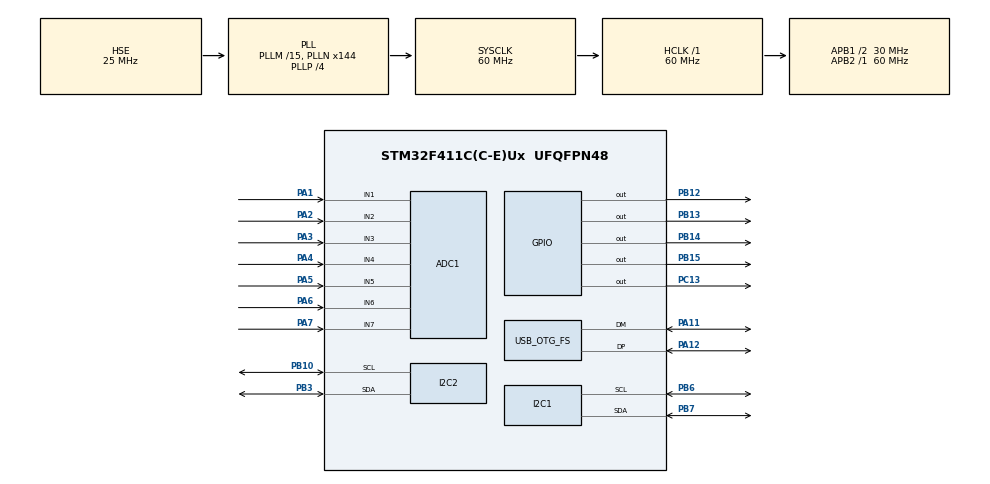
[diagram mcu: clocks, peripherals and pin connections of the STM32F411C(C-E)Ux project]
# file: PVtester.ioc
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ADC1.Channel-0\#ChannelRegularConversion=ADC_CHANNEL_1
ADC1.Channel-1\#ChannelRegularConversion=ADC_CHANNEL_2
ADC1.Channel-2\#ChannelRegularConversion=ADC_CHANNEL_3
ADC1.Channel-3\#ChannelRegularConversion=ADC_CHANNEL_4
ADC1.Channel-4\#ChannelRegularConversion=ADC_CHANNEL_5
ADC1.Channel-5\#ChannelRegularConversion=ADC_CHANNEL_6
ADC1.Channel-6\#ChannelRegularConversion=ADC_CHANNEL_7
ADC1.ClockPrescaler=ADC_CLOCK_SYNC_PCLK_DIV8
ADC1.ContinuousConvMode=DISABLE
ADC1.DMAContinuousRequests=DISABLE
ADC1.EOCSelection=ADC_EOC_SINGLE_CONV
ADC1.NbrOfConversion=7
ADC1.NbrOfConversionFlag=1
ADC1.Rank-0\#ChannelRegularConversion=1
ADC1.Rank-1\#ChannelRegularConversion=2
ADC1.Rank-2\#ChannelRegularConversion=3
ADC1.Rank-3\#ChannelRegularConversion=4
ADC1.Rank-4\#ChannelRegularConversion=5
ADC1.Rank-5\#ChannelRegularConversion=6
ADC1.Rank-6\#ChannelRegularConversion=7
ADC1.SamplingTime-0\#ChannelRegularConversion=ADC_SAMPLETIME_56CYCLES
ADC1.SamplingTime-1\#ChannelRegularConversion=ADC_SAMPLETIME_56CYCLES
ADC1.SamplingTime-2\#ChannelRegularConversion=ADC_SAMPLETIME_56CYCLES
ADC1.SamplingTime-3\#ChannelRegularConversion=ADC_SAMPLETIME_56CYCLES
ADC1.SamplingTime-4\#ChannelRegularConversion=ADC_SAMPLETIME_56CYCLES
ADC1.SamplingTime-5\#ChannelRegularConversion=ADC_SAMPLETIME_56CYCLES
ADC1.SamplingTime-6\#ChannelRegularConversion=ADC_SAMPLETIME_56CYCLES
ADC1.ScanConvMode=ENABLE
ADC1.master=1
Dma.ADC1.0.Direction=DMA_PERIPH_TO_MEMORY
Dma.ADC1.0.FIFOMode=DMA_FIFOMODE_DISABLE
Dma.ADC1.0.Instance=DMA2_Stream0
Dma.ADC1.0.MemDataAlignment=DMA_MDATAALIGN_WORD
Dma.ADC1.0.MemInc=DMA_MINC_ENABLE
Dma.ADC1.0.Mode=DMA_CIRCULAR
Dma.ADC1.0.PeriphDataAlignment=DMA_PDATAALIGN_WORD
Dma.ADC1.0.PeriphInc=DMA_PINC_DISABLE
Dma.ADC1.0.Priority=DMA_PRIORITY_LOW
Dma.Request0=ADC1
FREERTOS.HEAP_NUMBER=3
FREERTOS.INCLUDE_vTaskDelayUntil=1
FREERTOS.MEMORY_ALLOCATION=2
FREERTOS.Tasks01=defaultTask,0,128,vDefaultTask,Default,NULL,Static,defaultTaskBuffer,defaultTaskControlBlock
FREERTOS.configUSE_NEWLIB_REENTRANT=1
Mcu.Family=STM32F4
Mcu.Name=STM32F411C(C-E)Ux
Mcu.Package=UFQFPN48
NVIC.DMA2_Stream0_IRQn=true\:5\:0\:false\:false\:true\:true\:false\:true\:true
NVIC.OTG_FS_IRQn=true\:5\:0\:false\:false\:true\:true\:false\:true\:true
NVIC.PriorityGroup=NVIC_PRIORITYGROUP_4
NVIC.TIM3_IRQn=true\:15\:0\:false\:false\:true\:false\:false\:true\:true
NVIC.TimeBase=TIM3_IRQn
NVIC.TimeBaseIP=TIM3
PA1.Signal=ADCx_IN1
PA11.Mode=Device_Only
PA11.Signal=USB_OTG_FS_DM
PA12.Mode=Device_Only
PA12.Signal=USB_OTG_FS_DP
PA13.Mode=Serial_Wire
PA13.Signal=SYS_JTMS-SWDIO
PA14.Mode=Serial_Wire
PA14.Signal=SYS_JTCK-SWCLK
PA2.Signal=ADCx_IN2
PA3.Signal=ADCx_IN3
PA4.Signal=ADCx_IN4
PA5.Signal=ADCx_IN5
PA6.Signal=ADCx_IN6
PA7.Signal=ADCx_IN7
PB10.Mode=I2C
PB10.Signal=I2C2_SCL
PB12.Signal=GPIO_Output
PB13.Signal=GPIO_Output
PB14.Signal=GPIO_Output
PB15.Signal=GPIO_Output
PB3.Mode=I2C
PB3.Signal=I2C2_SDA
PB6.Mode=I2C
PB6.Signal=I2C1_SCL
PB7.Mode=I2C
PB7.Signal=I2C1_SDA
PC13-ANTI_TAMP.Signal=GPIO_Output
PH0\ -\ OSC_IN.Mode=HSE-External-Oscillator
PH0\ -\ OSC_IN.Signal=RCC_OSC_IN
PH1\ -\ OSC_OUT.Mode=HSE-External-Oscillator
PH1\ -\ OSC_OUT.Signal=RCC_OSC_OUT
ProjectManager.HeapSize=0x2000
ProjectManager.StackSize=0x4000
ProjectManager.TargetToolchain=STM32CubeIDE
RCC.48MHZClocksFreq_Value=48000000
RCC.AHBFreq_Value=60000000
RCC.APB1CLKDivider=RCC_HCLK_DIV2
RCC.APB1Freq_Value=30000000
RCC.APB1TimFreq_Value=60000000
RCC.APB2Freq_Value=60000000
RCC.APB2TimFreq_Value=60000000
RCC.CortexFreq_Value=60000000
RCC.HCLKFreq_Value=60000000
RCC.HSE_VALUE=25000000
RCC.HSI_VALUE=16000000
RCC.LSE_VALUE=32768
RCC.PLLM=15
RCC.PLLN=144
RCC.PLLP=RCC_PLLP_DIV4
RCC.PLLQ=5
RCC.SYSCLKFreq_VALUE=60000000
RCC.SYSCLKSource=RCC_SYSCLKSOURCE_PLLCLK
RCC.VCOOutputFreq_Value=240000000
SH.ADCx_IN1.0=ADC1_IN1,IN1
SH.ADCx_IN2.0=ADC1_IN2,IN2
SH.ADCx_IN3.0=ADC1_IN3,IN3
SH.ADCx_IN4.0=ADC1_IN4,IN4
SH.ADCx_IN5.0=ADC1_IN5,IN5
SH.ADCx_IN6.0=ADC1_IN6,IN6
SH.ADCx_IN7.0=ADC1_IN7,IN7
USB_DEVICE.CLASS_NAME_FS=CDC
USB_DEVICE.VirtualMode=Cdc
USB_DEVICE.VirtualModeFS=Cdc_FS
USB_OTG_FS.VirtualMode=Device_Only
VP_FREERTOS_VS_CMSIS_V1.Mode=CMSIS_V1
VP_SYS_VS_tim3.Mode=TIM3
VP_USB_DEVICE_VS_USB_DEVICE_CDC_FS.Mode=CDC_FS
board=custom

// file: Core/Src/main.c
/* USER CODE BEGIN Header */
/**
  ******************************************************************************
  * @file           : main.c
  * @brief          : Main program body
  ******************************************************************************
  * @attention
  *
  * Copyright (c) 2022 STMicroelectronics.
  * All rights reserved.
  *
  * This software is licensed under terms that can be found in the LICENSE file
  * in the root directory of this software component.
  * If no LICENSE file comes with this software, it is provided AS-IS.
  *
  ******************************************************************************
  */
/* USER CODE END Header */
#include "main.h"
#include "cmsis_os.h"
#include "adc.h"
#include "dma.h"
#include "i2c.h"
#include "usb_device.h"
#include "gpio.h"

/* USER CODE BEGIN Includes */
#include "ssd1306.h"
#include "mcp4726.h"

/* USER CODE END Includes */

void SystemClock_Config(void);
void MX_FREERTOS_Init(void);

int main(void)
{

  /* MCU Configuration--------------------------------------------------------*/

  /* Reset of all peripherals, Initializes the Flash interface and the Systick. */
  HAL_Init();

  /* Configure the system clock */
  SystemClock_Config();

  /* Initialize all configured peripherals */
  MX_GPIO_Init();
  MX_DMA_Init();
  MX_ADC1_Init();
  MX_I2C1_Init();
  MX_I2C2_Init();
  /* USER CODE BEGIN 2 */
  //HAL_NVIC_DisableIRQ(DMA2_Stream0_IRQn);

  ssd1306_Init();

  mcp4726_Init(&hi2c1);
  mcp4726_Init(&hi2c2);

  /* USER CODE END 2 */

  /* Call init function for freertos objects (in freertos.c) */
  MX_FREERTOS_Init();

  /* Start scheduler */
  osKernelStart();

  /* We should never get here as control is now taken by the scheduler */
  /* Infinite loop */
  while (1)
  {

  }
}

void SystemClock_Config(void)
{
  RCC_OscInitTypeDef RCC_OscInitStruct = {0};
  RCC_ClkInitTypeDef RCC_ClkInitStruct = {0};

  /** Configure the main internal regulator output voltage
  */
  __HAL_RCC_PWR_CLK_ENABLE();
  __HAL_PWR_VOLTAGESCALING_CONFIG(PWR_REGULATOR_VOLTAGE_SCALE1);

  /** Initializes the RCC Oscillators according to the specified parameters
  * in the RCC_OscInitTypeDef structure.
  */
  RCC_OscInitStruct.OscillatorType = RCC_OSCILLATORTYPE_HSE;
  RCC_OscInitStruct.HSEState = RCC_HSE_ON;
  RCC_OscInitStruct.PLL.PLLState = RCC_PLL_ON;
  RCC_OscInitStruct.PLL.PLLSource = RCC_PLLSOURCE_HSE;
  RCC_OscInitStruct.PLL.PLLM = 15;
  RCC_OscInitStruct.PLL.PLLN = 144;
  RCC_OscInitStruct.PLL.PLLP = RCC_PLLP_DIV4;
  RCC_OscInitStruct.PLL.PLLQ = 5;
  if (HAL_RCC_OscConfig(&RCC_OscInitStruct) != HAL_OK)
  {
    Error_Handler();
  }

  /** Initializes the CPU, AHB and APB buses clocks
  */
  RCC_ClkInitStruct.ClockType = RCC_CLOCKTYPE_HCLK|RCC_CLOCKTYPE_SYSCLK
                              |RCC_CLOCKTYPE_PCLK1|RCC_CLOCKTYPE_PCLK2;
  RCC_ClkInitStruct.SYSCLKSource = RCC_SYSCLKSOURCE_PLLCLK;
  RCC_ClkInitStruct.AHBCLKDivider = RCC_SYSCLK_DIV1;
  RCC_ClkInitStruct.APB1CLKDivider = RCC_HCLK_DIV2;
  RCC_ClkInitStruct.APB2CLKDivider = RCC_HCLK_DIV1;

  if (HAL_RCC_ClockConfig(&RCC_ClkInitStruct, FLASH_LATENCY_1) != HAL_OK)
  {
    Error_Handler();
  }
}

void HAL_TIM_PeriodElapsedCallback(TIM_HandleTypeDef *htim)
{
  if (htim->Instance == TIM3) {
    HAL_IncTick();
  }
}

void Error_Handler(void)
{
  __disable_irq();
  while (1)
  {
  }
}

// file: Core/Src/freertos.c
/* USER CODE BEGIN Header */
/**
  ******************************************************************************
  * File Name          : freertos.c
  * Description        : Code for freertos applications
  ******************************************************************************
  * @attention
  *
  * Copyright (c) 2022 STMicroelectronics.
  * All rights reserved.
  *
  * This software is licensed under terms that can be found in the LICENSE file
  * in the root directory of this software component.
  * If no LICENSE file comes with this software, it is provided AS-IS.
  *
  ******************************************************************************
  */
/* USER CODE END Header */

#include "FreeRTOS.h"
#include "task.h"
#include "main.h"
#include "cmsis_os.h"

/* USER CODE BEGIN Includes */
#include <stdio.h>
#include "string.h"

#include "usbd_cdc_if.h"
#include "adc.h"
#include "i2c.h"

#include "ssd1306.h"
#include "ssd1306_tests.h"

#include "ads1115.h"

#include "mcp4726.h"
/* USER CODE END Includes */

/* USER CODE BEGIN PD */
//#define SSDDEBUG
#define ack_len 5

#define sendAck(ackData, num, task) {\
	ackData[0] = num;\
	ackData[1] = task;\
	CDC_Transmit_FS((uint8_t *) ackData, ack_len);\
}
/* USER CODE END PD */

/* USER CODE BEGIN Variables */
osThreadId ssdThreadId;
osThreadId comThreadId;

uint8_t buffer[64];
uint8_t newData;

uint32_t adc_dma[14];

struct AcdPV {
	uint16_t adc_pvu;
	uint16_t adc_pvi;
	uint8_t adc_ampi;
};

struct SSDData {
	uint16_t dac_led;
	uint16_t dac_pv;
	float adc_pvu;
	float adc_pvi;
	float adc_led1;
	float adc_led2;
	float adc_36;
	uint16_t pv_gate;
	uint8_t err_code;
} ssdData;

struct COMData {
	struct SSDData * ssd;
	uint8_t buff[64];
	uint8_t res[16];
	uint8_t recv[2];
} comData;

/* USER CODE END Variables */
osThreadId defaultTaskHandle;
uint32_t defaultTaskBuffer[ 128 ];
osStaticThreadDef_t defaultTaskControlBlock;

/* USER CODE BEGIN FunctionPrototypes */
void vSSDThread(void const * argument);
void vCOMThread(void const * argument);

#if defined(SSDDEBUG)
void ssdDataClear(struct SSDData *);
void ssdUpdateDacLed(struct COMData *, uint16_t);
void ssdUpdateDacPV(struct COMData *, uint16_t);
void ssdUpdateAdcPV(struct COMData *);
void ssdUpdateGate(struct COMData *, uint8_t);
#endif

uint8_t comReset();
uint8_t comSetDacLed(uint16_t);
uint8_t comSetDacPV(uint16_t);
uint8_t comSendAdcPV(struct COMData *, uint8_t);
uint8_t comSendAdcOther(uint8_t *, uint8_t);
uint8_t comSetPVGate(uint8_t);
uint8_t comSetLEDGate(uint8_t);
uint8_t comSetPVFan(uint8_t);
uint8_t comSetLEDFan(uint8_t);
/* USER CODE END FunctionPrototypes */

void vDefaultTask(void const * argument);

extern void MX_USB_DEVICE_Init(void);
void MX_FREERTOS_Init(void); /* (MISRA C 2004 rule 8.1) */

/* GetIdleTaskMemory prototype (linked to static allocation support) */
void vApplicationGetIdleTaskMemory( StaticTask_t **ppxIdleTaskTCBBuffer, StackType_t **ppxIdleTaskStackBuffer, uint32_t *pulIdleTaskStackSize );

/* USER CODE BEGIN GET_IDLE_TASK_MEMORY */
static StaticTask_t xIdleTaskTCBBuffer;
static StackType_t xIdleStack[configMINIMAL_STACK_SIZE];

void vApplicationGetIdleTaskMemory( StaticTask_t **ppxIdleTaskTCBBuffer, StackType_t **ppxIdleTaskStackBuffer, uint32_t *pulIdleTaskStackSize )
{
  *ppxIdleTaskTCBBuffer = &xIdleTaskTCBBuffer;
  *ppxIdleTaskStackBuffer = &xIdleStack[0];
  *pulIdleTaskStackSize = configMINIMAL_STACK_SIZE;
  /* place for user code */
}
/* USER CODE END GET_IDLE_TASK_MEMORY */

void MX_FREERTOS_Init(void) {

  /* Create the thread(s) */
  /* definition and creation of defaultTask */
  osThreadStaticDef(defaultTask, vDefaultTask, osPriorityNormal, 0, 128, defaultTaskBuffer, &defaultTaskControlBlock);
  defaultTaskHandle = osThreadCreate(osThread(defaultTask), NULL);

  /* USER CODE BEGIN RTOS_THREADS */
  osThreadDef(ssdThread, vSSDThread, osPriorityNormal, 1, 512);
  osThreadDef(comThread, vCOMThread, osPriorityNormal, 1, 512);
  comData.ssd = &ssdData;
  ssdThreadId = osThreadCreate(osThread(ssdThread), comData.ssd);
  comThreadId = osThreadCreate(osThread(comThread), &comData);
  /* USER CODE END RTOS_THREADS */

}

void vDefaultTask(void const * argument)
{
  /* init code for USB_DEVICE */
  MX_USB_DEVICE_Init();
  for(;;)
  {
	  osDelay(1);
  }
}

/* USER CODE BEGIN Application */

void vSSDThread(void const * arg)
{

//#if defined(SSDDEBUG)
	struct SSDData * ssdData = (struct SSDData * ) arg;
	char buff[10];
//#endif
	TickType_t xLastWakeTime;
	const TickType_t xFrequency = 100;
	xLastWakeTime = xTaskGetTickCount();

	for(;;)
	{
#if defined(SSDDEBUG)
		ssd1306_Fill(0x00);

		snprintf(buff, sizeof(buff), "LD:%u", ssdData->dac_led);
		ssd1306_SetCursor(2, 0);
		ssd1306_WriteString(buff, Font_6x8, White);

		snprintf(buff, sizeof(buff), "PV:%u", ssdData->dac_pv);
		ssd1306_SetCursor(56, 0);
		ssd1306_WriteString(buff, Font_6x8, White);

		snprintf(buff, sizeof(buff), "U:%.5f", ssdData->adc_pvu);
		ssd1306_SetCursor(62, 16);
		ssd1306_WriteString(buff, Font_6x8, White);

		snprintf(buff, sizeof(buff), "I:%.5f", ssdData->adc_pvi);
		ssd1306_SetCursor(62, 24);
		ssd1306_WriteString(buff, Font_6x8, White);

		ssdData->adc_led1 = adc_dma[0] * 0.0008058608;
		snprintf(buff, sizeof(buff), "1L:%.3f", ssdData->adc_led1);
		ssd1306_SetCursor(2, 8);
		ssd1306_WriteString(buff, Font_6x8, White);

		ssdData->adc_led2 = adc_dma[1] * 0.0008058608;
		snprintf(buff, sizeof(buff), "2L:%.3f", ssdData->adc_led2);
		ssd1306_SetCursor(56, 8);
		ssd1306_WriteString(buff, Font_6x8, White);

		ssdData->adc_36 = adc_dma[2] * 0.0008058608;
		snprintf(buff, sizeof(buff), "36V%.3f", ssdData->adc_36);
		ssd1306_SetCursor(2, 16);
		ssd1306_WriteString(buff, Font_6x8, White);

		snprintf(buff, sizeof(buff), "G:%u", ssdData->pv_gate);
		ssd1306_SetCursor(110, 8);
		ssd1306_WriteString(buff, Font_6x8, White);

		snprintf(buff, sizeof(buff), "E:%u", ssdData->err_code);
		ssd1306_SetCursor(110, 0);
		ssd1306_WriteString(buff, Font_6x8, White);
		//recv buffer

		ssd1306_SetCursor(2, 24);
		for( int i = 0; i < 4; i++)
		{
			snprintf(buff, 3, "%02x", buffer[i]);
			ssd1306_WriteChar(buff[0], Font_6x8, White);
			ssd1306_WriteChar(buff[1], Font_6x8, White);
		}

		//ssd1306_WriteString(buffer, Font_6x8, White);

		ssd1306_UpdateScreen();
#endif
		HAL_ADC_Start_DMA(&hadc1, adc_dma, 7);
		HAL_GPIO_TogglePin (GPIOC, GPIO_PIN_13);
		vTaskDelayUntil(&xLastWakeTime, xFrequency);
	}

}

void vCOMThread(void const * arg)
{
	struct COMData * comData = (struct COMData * ) arg;
//#if defined(SSDDEBUG)
//	struct SSDData * ssdData = comData->ssdData;
#if defined(SSDDEBUG)
	ssdDataClear(comData->ssd);
#endif

	char ackData[ack_len] = "12ACK";
	uint8_t num = 1;

	for(;;)
	{		if(newData == 1)
		{
			memset(comData->buff, '\0', 64);
			memcpy(comData->buff, buffer, 64);
			newData = 0;
			uint16_t level;
			//parse

			if ( num == comData->buff[0]) //correct data
			{
				switch (comData->buff[1])
				{
				case 0u: //reset
					comReset();
#if defined(SSDDEBUG)
					ssdDataClear(comData->ssd);
#endif
					sendAck(ackData, num, 0u);
					break;
				case 1u: //set dac led
					taskENTER_CRITICAL();
					level = ((uint16_t)comData->buff[2] << 8) | (uint16_t)comData->buff[3];
					comSetDacLed(level);
					taskEXIT_CRITICAL();
#if defined(SSDDEBUG)
					ssdUpdateDacLed(comData, level);
#endif
					sendAck(ackData, num, 1u);
					break;
				case 2u: //set dac pv
					taskENTER_CRITICAL();
					level = ((uint16_t)comData->buff[2] << 8) | (uint16_t)comData->buff[3];
					comSetDacPV(level);
					taskEXIT_CRITICAL();
#if defined(SSDDEBUG)
					ssdUpdateDacPV(comData, level);
#endif
					sendAck(ackData, num, 2u);
					break;
				case 3u: //read adc pv
					taskENTER_CRITICAL();
					comSendAdcPV(comData, num);
					taskEXIT_CRITICAL();
#if defined(SSDDEBUG)
					ssdUpdateAdcPV(comData);
#endif
					break;
				case 4u: //read adc other
					taskENTER_CRITICAL();
					comSendAdcOther(comData->res, num);
					taskEXIT_CRITICAL();
					break;
				case 5u: //set pv gate
					comSetPVGate(comData->buff[2]);
#if defined(SSDDEBUG)
					ssdUpdateGate(comData, comData->buff[2]);
#endif
					sendAck(ackData, num, 5u);
					break;
				case 6u: //set led gate
					comSetLEDGate(comData->buff[2]);
#if defined(SSDDEBUG)
					ssdUpdateGate(comData, comData->buff[2]);
#endif
					sendAck(ackData, num, 6u);
					break;
				case 7u: //set pv fan
					comSetPVFan(comData->buff[2]);
#if defined(SSDDEBUG)
					ssdUpdateGate(comData, comData->buff[2]);
#endif
					sendAck(ackData, num, 7u);
					break;
				case 8u: //set led fan
					comSetLEDFan(comData->buff[2]);
#if defined(SSDDEBUG)
					ssdUpdateGate(comData, comData->buff[2]);
#endif
					sendAck(ackData, num, 8u);
					break;
				case 0x88: //Echo 7 bytes
					CDC_Transmit_FS((uint8_t *) comData->buff, 7);
					break;
				default:
					CDC_Transmit_FS((uint8_t *) comData->buff, 64);
					break;
				}

				num==0xff?num=1:num++; //inc num
			}
			else
			{
				if (comData->buff[0] == 0 && comData->buff[1] == 0x80)
				{
					num = 0x01;
				}
				else
				{
					char data[19] = "\0";
					data[1] = 1u;
					CDC_Transmit_FS((uint8_t *) data, 2);
				}
			}

		}
	}
}

//COM reactions

uint8_t comReset()
{
	comSetDacLed(0);
	comSetDacPV(0);
	comSetPVGate(0);
	return 0;
}

uint8_t comSetDacLed(uint16_t level)
{
	HAL_StatusTypeDef res = mcp4726_WriteOutputV(&hi2c1, level);
	return (uint8_t) res;
}

uint8_t comSetDacPV(uint16_t level)
{
	HAL_StatusTypeDef res = mcp4726_WriteOutputV(&hi2c2, level);
	return (uint8_t) res;
}

uint8_t comSendAdcPV(struct COMData * com, uint8_t num)
{
	com->res[0] = num;
	com->res[1] = 0x03;
	//Get PV voltage (MUX 0-1, PGA 2V)
	if (ads1115_GetValue(com->recv, ADS1115_MUX_0_GND, ADS1115_PGA_2V) != HAL_OK)
	{
		com->res[2] = 0xff;
		com->res[3] = 0xff;
	} else {
		com->res[2] = com->recv[0];
		com->res[3] = com->recv[1];
	}
	 //Get PV voltage (MUX 2-3, PGA 2V for now)
	if (ads1115_GetValue(com->recv, ADS1115_MUX_2_GND, ADS1115_PGA_2V) != HAL_OK)
	{
		com->res[4] = 0xff;
		com->res[5] = 0xff;
	} else {
		com->res[4] = com->recv[0];
		com->res[5] = com->recv[1];
	}
	com->res[6] = 0x00; //amp not implemented yet
	return CDC_Transmit_FS(com->res, 7);
}

uint8_t comSendAdcOther(uint8_t * res, uint8_t num)
{
	res[0] = num;
	res[1] = 0x04;
	res[2] = (uint8_t)((adc_dma[0] & 0x0f00) >> 8);
	res[3] = (uint8_t)(adc_dma[0] & 0x00ff);
	res[4] = (uint8_t)((adc_dma[1] & 0x0f00) >> 8);
	res[5] = (uint8_t)(adc_dma[1] & 0x00ff);
	res[6] = (uint8_t)((adc_dma[2] & 0x0f00) >> 8);
	res[7] = (uint8_t)(adc_dma[2] & 0x00ff);
	res[8] = (uint8_t)((adc_dma[3] & 0x0f00) >> 8);
	res[9] = (uint8_t)(adc_dma[3] & 0x00ff);
	res[10] = (uint8_t)((adc_dma[4] & 0x0f00) >> 8);
	res[11] = (uint8_t)(adc_dma[4] & 0x00ff);
	res[12] = (uint8_t)((adc_dma[5] & 0x0f00) >> 8);
	res[13] = (uint8_t)(adc_dma[5] & 0x00ff);
	res[14] = (uint8_t)((adc_dma[6] & 0x0f00) >> 8);
	res[15] = (uint8_t)(adc_dma[6] & 0x00ff);
	return CDC_Transmit_FS(res, 16);
}

uint8_t comSetPVGate(uint8_t level)
{
	HAL_GPIO_WritePin(GPIOB, GPIO_PIN_12, level?GPIO_PIN_SET:GPIO_PIN_RESET);
	return 0;
}

uint8_t comSetLEDGate(uint8_t level)
{
	HAL_GPIO_WritePin(GPIOB, GPIO_PIN_13, level?GPIO_PIN_SET:GPIO_PIN_RESET);
	return 0;
}

uint8_t comSetPVFan(uint8_t level)
{
	HAL_GPIO_WritePin(GPIOB, GPIO_PIN_14, level?GPIO_PIN_SET:GPIO_PIN_RESET);
	return 0;
}

uint8_t comSetLEDFan(uint8_t level)
{
	HAL_GPIO_WritePin(GPIOB, GPIO_PIN_15, level?GPIO_PIN_SET:GPIO_PIN_RESET);
	return 0;
}

//DEBUG

#if defined(SSDDEBUG)
void ssdDataClear(struct SSDData * ssdData)
{
	ssdData->adc_36 = 0;
	ssdData->adc_led1 = 0;
	ssdData->adc_led2 = 0;
	ssdData->adc_pvi = 0;
	ssdData->adc_pvu = 0;
	ssdData->dac_led = 0;
	ssdData->dac_pv = 0;
	ssdData->pv_gate = 0;
	ssdData->err_code = 0;
}

void ssdUpdateDacLed(struct COMData *comData, uint16_t level)
{
	comData->ssd->dac_led = level;
}

void ssdUpdateDacPV(struct COMData *comData, uint16_t level)
{
	comData->ssd->dac_pv = level;
}

void ssdUpdateAdcPV(struct COMData *comData)
{
	comData->ssd->adc_pvu = (float)(int16_t)(((uint16_t)comData->res[2] << 8) | (uint16_t) comData->res[3]);
	comData->ssd->adc_pvi = (float)(int16_t)(((uint16_t)comData->res[4] << 8) | (uint16_t) comData->res[5]);
	comData->ssd->adc_pvu *= 0.0000625f;
	comData->ssd->adc_pvi *= 0.0000625f;
}

void ssdUpdateGate(struct COMData *comData, uint8_t level)
{
	comData->ssd->pv_gate = level;
}
#endif

/* USER CODE END Application */
